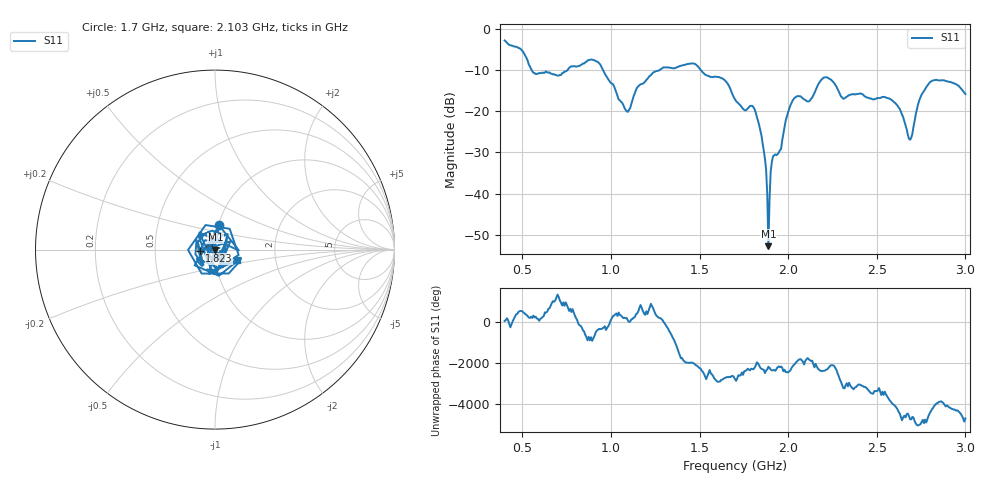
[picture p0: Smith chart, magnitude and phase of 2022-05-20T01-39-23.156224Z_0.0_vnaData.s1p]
!Created with skrf (http://scikit-rf.org).
# Hz S RI R 50.0
!freq ReS11 ImS11
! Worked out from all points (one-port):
!   401 points, 400 MHz to 3 GHz, reference 50 ohm
!   lowest |S11| = -52.8 dB at 1.889 GHz (marker M1), VSWR 1.00, Z = 50.2 - j0.114 ohm
!   |S11| at or under -10 dB: 553 MHz to 753.5 MHz (200.5 MHz wide, 30.7 % of centre); 955.2 MHz to 1.273 GHz (317.5 MHz wide, 28.5 % of centre); 1.508 GHz to end of sweep
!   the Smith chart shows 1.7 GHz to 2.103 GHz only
!   S11 on the Smith chart (normalised r, x): 1.7 GHz: 1.00, +0.28; 1.823 GHz: 0.84, -0.01; 2.103 GHz: 1.27, -0.15
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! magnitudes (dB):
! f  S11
! 400 MHz  -2.8
! 497.5 MHz  -5.1
! 569 MHz  -10.7
! 725 MHz  -10.7
! 913.5 MHz  -7.8
! 1.05 GHz  -17.3
! 1.095 GHz  -20.1
! 1.232 GHz  -10.9
! 1.375 GHz  -9.2
! 1.629 GHz  -12.0
! 1.7 GHz  -17.1
! 1.823 GHz  -21.4
! 1.863 GHz  -29.6
! 1.875 GHz  -34.1
! 1.889 GHz  -52.8
! 1.901 GHz  -34.5
! 1.915 GHz  -31.0
! 1.954 GHz  -29.5
! 2.025 GHz  -17.4
! 2.103 GHz  -17.5
! 2.207 GHz  -11.7
! 2.35 GHz  -15.9
! 2.578 GHz  -17.0
! 2.675 GHz  -25.6
! 2.695 GHz  -26.4
! 2.747 GHz  -16.6
! 2.805 GHz  -12.8
! 3 GHz  -15.8
